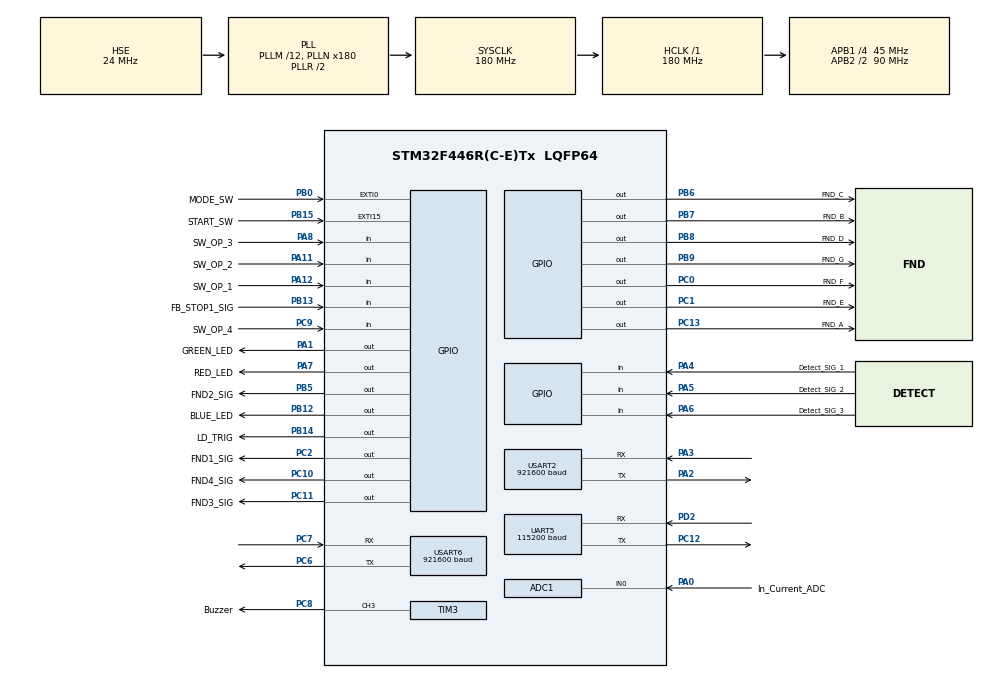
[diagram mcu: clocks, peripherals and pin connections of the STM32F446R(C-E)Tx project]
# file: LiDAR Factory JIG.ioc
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ADC1.Channel-0\#ChannelRegularConversion=ADC_CHANNEL_0
ADC1.ClockPrescaler=ADC_CLOCK_SYNC_PCLK_DIV8
ADC1.ContinuousConvMode=DISABLE
ADC1.DMAContinuousRequests=DISABLE
ADC1.NbrOfConversionFlag=1
ADC1.Rank-0\#ChannelRegularConversion=1
ADC1.Resolution=ADC_RESOLUTION_12B
ADC1.SamplingTime-0\#ChannelRegularConversion=ADC_SAMPLETIME_84CYCLES
ADC1.ScanConvMode=DISABLE
ADC1.master=1
Mcu.Family=STM32F4
Mcu.Name=STM32F446R(C-E)Tx
Mcu.Package=LQFP64
NVIC.EXTI0_IRQn=true\:0\:0\:false\:false\:true\:true\:true\:true
NVIC.EXTI15_10_IRQn=true\:0\:0\:true\:false\:true\:true\:true\:true
NVIC.PriorityGroup=NVIC_PRIORITYGROUP_4
NVIC.TIM2_IRQn=true\:0\:0\:false\:true\:true\:1\:true\:true\:true
NVIC.UART5_IRQn=true\:0\:0\:true\:false\:true\:true\:true\:true
NVIC.USART2_IRQn=true\:0\:0\:false\:false\:true\:true\:true\:true
NVIC.USART6_IRQn=true\:0\:0\:true\:false\:true\:true\:true\:true
PA0-WKUP.GPIO_Label=In_Current_ADC
PA0-WKUP.Signal=ADCx_IN0
PA1.GPIO_Label=GREEN_LED
PA1.GPIO_ModeDefaultOutputPP=GPIO_MODE_OUTPUT_OD
PA1.GPIO_PuPd=GPIO_NOPULL
PA1.Signal=GPIO_Output
PA10.Signal=USART1_RX
PA11.GPIO_Label=SW_OP_2
PA11.Signal=GPIO_Input
PA12.GPIO_Label=SW_OP_1
PA12.Signal=GPIO_Input
PA13.Mode=JTAG_5_pins
PA13.Signal=SYS_JTMS-SWDIO
PA14.Mode=JTAG_5_pins
PA14.Signal=SYS_JTCK-SWCLK
PA15.Mode=JTAG_5_pins
PA15.Signal=SYS_JTDI
PA2.Mode=Asynchronous
PA2.Signal=USART2_TX
PA3.Mode=Asynchronous
PA3.Signal=USART2_RX
PA4.GPIO_Label=Detect_SIG_1
PA4.Signal=GPIO_Input
PA5.GPIO_Label=Detect_SIG_2
PA5.Signal=GPIO_Input
PA6.GPIO_Label=Detect_SIG_3
PA6.Signal=GPIO_Input
PA7.GPIO_Label=RED_LED
PA7.GPIO_ModeDefaultOutputPP=GPIO_MODE_OUTPUT_OD
PA7.GPIO_PuPd=GPIO_NOPULL
PA7.Signal=GPIO_Output
PA8.GPIO_Label=SW_OP_3
PA8.Signal=GPIO_Input
PA9.Signal=USART1_TX
PB0.GPIO_Label=MODE_SW
PB0.GPIO_ModeDefaultEXTI=GPIO_MODE_IT_RISING_FALLING
PB0.Signal=GPXTI0
PB10.Signal=USART3_TX
PB12.GPIO_Label=BLUE_LED
PB12.GPIO_ModeDefaultOutputPP=GPIO_MODE_OUTPUT_OD
PB12.GPIO_PuPd=GPIO_NOPULL
PB12.Signal=GPIO_Output
PB13.GPIO_Label=FB_STOP1_SIG
PB13.Signal=GPIO_Input
PB14.GPIO_Label=LD_TRIG
PB14.Signal=GPIO_Output
PB15.GPIO_Label=START_SW
PB15.GPIO_ModeDefaultEXTI=GPIO_MODE_IT_RISING
PB15.Signal=GPXTI15
PB2.Signal=S_TIM2_CH4
PB3.Mode=JTAG_5_pins
PB3.Signal=SYS_JTDO-SWO
PB4.Mode=JTAG_5_pins
PB4.Signal=SYS_JTRST
PB5.GPIO_Label=FND2_SIG
PB5.Signal=GPIO_Output
PB6.GPIO_Label=FND_C
PB6.Signal=GPIO_Output
PB7.GPIO_Label=FND_B
PB7.Signal=GPIO_Output
PB8.GPIO_Label=FND_D
PB8.Signal=GPIO_Output
PB9.GPIO_Label=FND_G
PB9.Signal=GPIO_Output
PC0.GPIO_Label=FND_F
PC0.Signal=GPIO_Output
PC1.GPIO_Label=FND_E
PC1.Signal=GPIO_Output
PC10.GPIO_Label=FND4_SIG
PC10.Signal=GPIO_Output
PC11.GPIO_Label=FND3_SIG
PC11.Signal=GPIO_Output
PC12.Mode=Asynchronous
PC12.Signal=UART5_TX
PC13.GPIO_Label=FND_A
PC13.Signal=GPIO_Output
PC2.GPIO_Label=FND1_SIG
PC2.GPIO_ModeDefaultOutputPP=GPIO_MODE_OUTPUT_PP
PC2.GPIO_PuPd=GPIO_NOPULL
PC2.Signal=GPIO_Output
PC5.Signal=USART3_RX
PC6.Mode=Asynchronous
PC6.Signal=USART6_TX
PC7.Mode=Asynchronous
PC7.Signal=USART6_RX
PC8.GPIO_Label=Buzzer
PC8.Signal=S_TIM3_CH3
PC9.GPIO_Label=SW_OP_4
PC9.Signal=GPIO_Input
PD2.Mode=Asynchronous
PD2.Signal=UART5_RX
PH0-OSC_IN.Mode=HSE-External-Oscillator
PH0-OSC_IN.Signal=RCC_OSC_IN
PH1-OSC_OUT.Mode=HSE-External-Oscillator
PH1-OSC_OUT.Signal=RCC_OSC_OUT
ProjectManager.HeapSize=0x200
ProjectManager.StackSize=0x400
ProjectManager.TargetToolchain=STM32CubeIDE
RCC.AHBFreq_Value=180000000
RCC.APB1CLKDivider=RCC_HCLK_DIV4
RCC.APB1Freq_Value=45000000
RCC.APB1TimFreq_Value=90000000
RCC.APB2CLKDivider=RCC_HCLK_DIV2
RCC.APB2Freq_Value=90000000
RCC.APB2TimFreq_Value=180000000
RCC.CortexFreq_Value=180000000
RCC.HCLKFreq_Value=180000000
RCC.HSE_VALUE=24000000
RCC.PLLM=12
RCC.PLLN=180
RCC.PLLSourceVirtual=RCC_PLLSOURCE_HSE
RCC.SYSCLKFreq_VALUE=180000000
RCC.SYSCLKSource=RCC_SYSCLKSOURCE_PLLRCLK
RCC.USBFreq_Value=180000000
RCC.VCOOutputFreq_Value=360000000
SH.ADCx_IN0.0=ADC1_IN0,IN0
SH.S_TIM2_CH4.0=TIM2_CH4
SH.S_TIM3_CH3.0=TIM3_CH3,PWM Generation3 CH3
TIM2.Period=2250
TIM2.Prescaler=2500
TIM3.Channel-PWM\ Generation3\ CH3=TIM_CHANNEL_3
TIM3.Period=500-1
TIM3.Prescaler=45-1
TIM3.Pulse-PWM\ Generation3\ CH3=250-1
UART5.BaudRate=115200
UART5.VirtualMode=Asynchronous
USART2.BaudRate=921600
USART2.VirtualMode=VM_ASYNC
USART6.BaudRate=921600
USART6.VirtualMode=VM_ASYNC
VP_TIM2_VS_ClockSourceINT.Mode=Internal
VP_TIM3_VS_ClockSourceINT.Mode=Internal
board=custom

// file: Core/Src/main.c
/* USER CODE BEGIN Header */
/**
 ******************************************************************************
 * @file           : main.c
 * @brief          : Main program body
 ******************************************************************************
 * @attention
 *
 * Copyright (c) 2022 STMicroelectronics.
 * All rights reserved.
 *
 * This software is licensed under terms that can be found in the LICENSE file
 * in the root directory of this software component.
 * If no LICENSE file comes with this software, it is provided AS-IS.
 *
 ******************************************************************************
 */
/* USER CODE END Header */
#include "main.h"
#include "adc.h"
#include "tim.h"
#include "usart.h"
#include "gpio.h"

/* USER CODE BEGIN Includes */
#include "result.h"
#include "delay.h"
/* USER CODE END Includes */

void SystemClock_Config(void);
static void MX_NVIC_Init(void);

/* USER CODE BEGIN 0 */
volatile enum eStatus g_Status = kStatus_Info;
uint8_t stop_feedback = 0;
uint8_t feedback_ng_cnt = 0;

extern uint8_t Mode_data;

/* USER CODE END 0 */

int main(void)
{

  /* MCU Configuration--------------------------------------------------------*/

  /* Reset of all peripherals, Initializes the Flash interface and the Systick. */
  HAL_Init();

  /* Configure the system clock */
  SystemClock_Config();

  /* Initialize all configured peripherals */
  MX_GPIO_Init();
  MX_ADC1_Init();
  MX_UART5_Init();
  MX_TIM3_Init();
  MX_USART6_UART_Init();
  MX_TIM2_Init();
  MX_USART2_UART_Init();

  /* Initialize interrupts */
  MX_NVIC_Init();
  /* USER CODE BEGIN 2 */
  DWT_Delay_Init();

  InitUartQueue(&ViewerQueue);
  InitUartQueue(&LiDARQueue);

  switch_check();

  __HAL_UART_ENABLE_IT(&hR300, UART_IT_RXNE);
  __HAL_UART_ENABLE_IT(&hR4, UART_IT_RXNE);

  /* USER CODE END 2 */

  /* Infinite loop */
  /* USER CODE BEGIN WHILE */

  while (1)
  {
    if (tx_start_flag == 0)
    {
      switch (g_Status)
      {
      case kStatus_Info:
        Info_status();
        break;

      case kStatus_Detect1:
        Detect1_status();
        break;

      case kStatus_Detect2:
        Detect2_status();
        break;

      case kStatus_Detect3:
        Detect3_status();
        break;

      case kStatus_Idle:
        Idle_status();
        break;

      case kStatus_Test:

        Test_status();
        break;

      case kStatus_Result:
        result(g_Result);
        break;

      default:
        break;
      }
    }
    else // LD Tx On
    {
      if (stop_feedback == 0)
      {
        LL_GPIO_SetOutputPin(LD_TRIG_GPIO_Port, LD_TRIG_Pin);
        stop_feedback = HAL_GPIO_ReadPin(FB_STOP1_SIG_GPIO_Port, FB_STOP1_SIG_Pin);
        LL_GPIO_ResetOutputPin(LD_TRIG_GPIO_Port, LD_TRIG_Pin);
        feedback_ng_cnt++;
        if (feedback_ng_cnt >= 5)
        {
          result(kResult_Err_11);
          stop_feedback = 1;
          feedback_ng_cnt = 0;
        }
        Delay_us(20);
      }
      else
      {
        LL_GPIO_SetOutputPin(LD_TRIG_GPIO_Port, LD_TRIG_Pin);
        LL_GPIO_ResetOutputPin(LD_TRIG_GPIO_Port, LD_TRIG_Pin);
        Delay_us(20);
      }
    }
  }
    /* USER CODE END WHILE */

}

void SystemClock_Config(void)
{
  RCC_OscInitTypeDef RCC_OscInitStruct = {0};
  RCC_ClkInitTypeDef RCC_ClkInitStruct = {0};

  /** Configure the main internal regulator output voltage
  */
  __HAL_RCC_PWR_CLK_ENABLE();
  __HAL_PWR_VOLTAGESCALING_CONFIG(PWR_REGULATOR_VOLTAGE_SCALE1);

  /** Initializes the RCC Oscillators according to the specified parameters
  * in the RCC_OscInitTypeDef structure.
  */
  RCC_OscInitStruct.OscillatorType = RCC_OSCILLATORTYPE_HSE;
  RCC_OscInitStruct.HSEState = RCC_HSE_ON;
  RCC_OscInitStruct.PLL.PLLState = RCC_PLL_ON;
  RCC_OscInitStruct.PLL.PLLSource = RCC_PLLSOURCE_HSE;
  RCC_OscInitStruct.PLL.PLLM = 12;
  RCC_OscInitStruct.PLL.PLLN = 180;
  RCC_OscInitStruct.PLL.PLLP = RCC_PLLP_DIV2;
  RCC_OscInitStruct.PLL.PLLQ = 2;
  RCC_OscInitStruct.PLL.PLLR = 2;
  if (HAL_RCC_OscConfig(&RCC_OscInitStruct) != HAL_OK)
  {
    Error_Handler();
  }

  /** Activate the Over-Drive mode
  */
  if (HAL_PWREx_EnableOverDrive() != HAL_OK)
  {
    Error_Handler();
  }

  /** Initializes the CPU, AHB and APB buses clocks
  */
  RCC_ClkInitStruct.ClockType = RCC_CLOCKTYPE_HCLK|RCC_CLOCKTYPE_SYSCLK
                              |RCC_CLOCKTYPE_PCLK1|RCC_CLOCKTYPE_PCLK2;
  RCC_ClkInitStruct.SYSCLKSource = RCC_SYSCLKSOURCE_PLLRCLK;
  RCC_ClkInitStruct.AHBCLKDivider = RCC_SYSCLK_DIV1;
  RCC_ClkInitStruct.APB1CLKDivider = RCC_HCLK_DIV4;
  RCC_ClkInitStruct.APB2CLKDivider = RCC_HCLK_DIV2;

  if (HAL_RCC_ClockConfig(&RCC_ClkInitStruct, FLASH_LATENCY_5) != HAL_OK)
  {
    Error_Handler();
  }
}

/**
  * @brief NVIC Configuration.
  * @retval None
  */
static void MX_NVIC_Init(void)
{
  /* TIM2_IRQn interrupt configuration */
  HAL_NVIC_SetPriority(TIM2_IRQn, 0, 0);
  HAL_NVIC_EnableIRQ(TIM2_IRQn);
}

void Error_Handler(void)
{
  __disable_irq();
  while (1)
  {
  }
}
